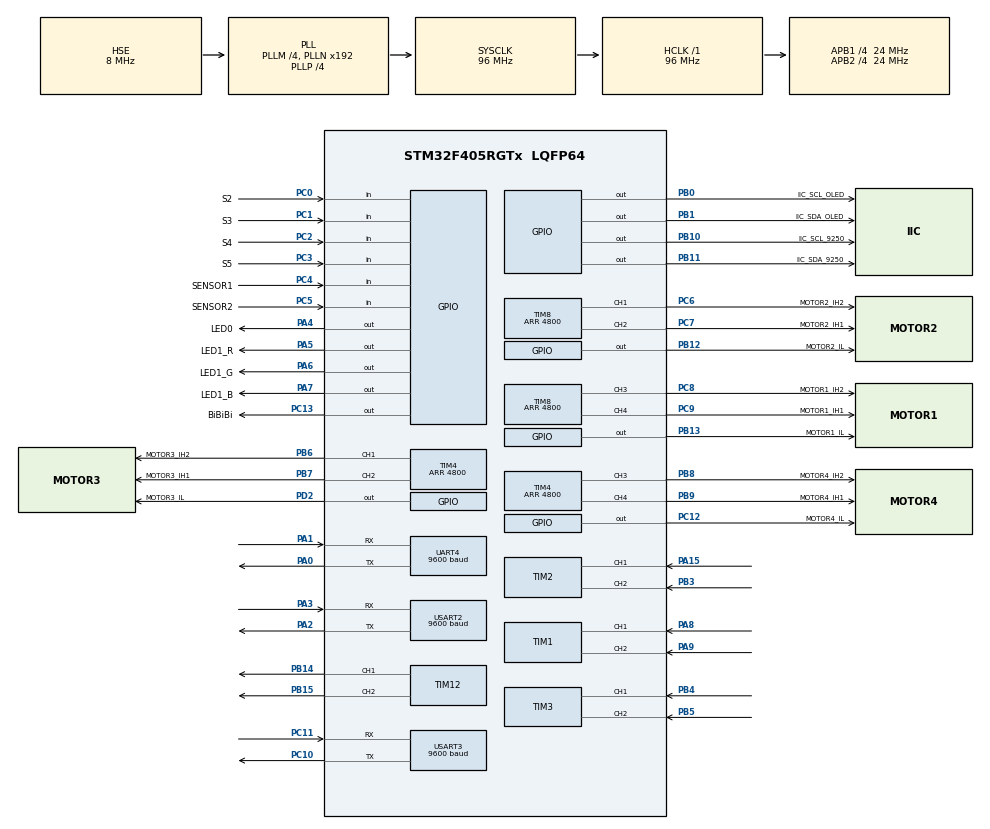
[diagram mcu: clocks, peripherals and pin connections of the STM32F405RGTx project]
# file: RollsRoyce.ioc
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Dma.Request0=USART2_RX
Dma.Request1=UART4_RX
Dma.Request2=USART3_RX
Dma.UART4_RX.1.Channel=DMA_CHANNEL_4
Dma.UART4_RX.1.Direction=DMA_PERIPH_TO_MEMORY
Dma.UART4_RX.1.FIFOMode=DMA_FIFOMODE_DISABLE
Dma.UART4_RX.1.FIFOThreshold=DMA_FIFO_THRESHOLD_FULL
Dma.UART4_RX.1.Instance=DMA1_Stream2
Dma.UART4_RX.1.MemBurst=DMA_MBURST_SINGLE
Dma.UART4_RX.1.MemDataAlignment=DMA_MDATAALIGN_BYTE
Dma.UART4_RX.1.MemInc=DMA_MINC_ENABLE
Dma.UART4_RX.1.Mode=DMA_CIRCULAR
Dma.UART4_RX.1.PeriphBurst=DMA_PBURST_SINGLE
Dma.UART4_RX.1.PeriphDataAlignment=DMA_PDATAALIGN_BYTE
Dma.UART4_RX.1.PeriphInc=DMA_PINC_DISABLE
Dma.UART4_RX.1.Priority=DMA_PRIORITY_LOW
Dma.USART2_RX.0.Channel=DMA_CHANNEL_4
Dma.USART2_RX.0.Direction=DMA_PERIPH_TO_MEMORY
Dma.USART2_RX.0.FIFOMode=DMA_FIFOMODE_DISABLE
Dma.USART2_RX.0.FIFOThreshold=DMA_FIFO_THRESHOLD_FULL
Dma.USART2_RX.0.Instance=DMA1_Stream5
Dma.USART2_RX.0.MemBurst=DMA_MBURST_SINGLE
Dma.USART2_RX.0.MemDataAlignment=DMA_MDATAALIGN_BYTE
Dma.USART2_RX.0.MemInc=DMA_MINC_ENABLE
Dma.USART2_RX.0.Mode=DMA_CIRCULAR
Dma.USART2_RX.0.PeriphBurst=DMA_PBURST_SINGLE
Dma.USART2_RX.0.PeriphDataAlignment=DMA_PDATAALIGN_BYTE
Dma.USART2_RX.0.PeriphInc=DMA_PINC_DISABLE
Dma.USART2_RX.0.Priority=DMA_PRIORITY_LOW
Dma.USART3_RX.2.Channel=DMA_CHANNEL_4
Dma.USART3_RX.2.Direction=DMA_PERIPH_TO_MEMORY
Dma.USART3_RX.2.FIFOMode=DMA_FIFOMODE_DISABLE
Dma.USART3_RX.2.FIFOThreshold=DMA_FIFO_THRESHOLD_FULL
Dma.USART3_RX.2.Instance=DMA1_Stream1
Dma.USART3_RX.2.MemBurst=DMA_MBURST_SINGLE
Dma.USART3_RX.2.MemDataAlignment=DMA_MDATAALIGN_BYTE
Dma.USART3_RX.2.MemInc=DMA_MINC_ENABLE
Dma.USART3_RX.2.Mode=DMA_CIRCULAR
Dma.USART3_RX.2.PeriphBurst=DMA_PBURST_SINGLE
Dma.USART3_RX.2.PeriphDataAlignment=DMA_PDATAALIGN_BYTE
Dma.USART3_RX.2.PeriphInc=DMA_PINC_DISABLE
Dma.USART3_RX.2.Priority=DMA_PRIORITY_VERY_HIGH
FREERTOS.Tasks01=defaultTask,0,128,StartDefaultTask
Mcu.Family=STM32F4
Mcu.Name=STM32F405RGTx
Mcu.Package=LQFP64
NVIC.DMA1_Stream1_IRQn=true\:5\:0\:false
NVIC.DMA1_Stream2_IRQn=true\:5\:0\:false
NVIC.DMA1_Stream5_IRQn=true\:5\:0\:false
NVIC.PriorityGroup=NVIC_PRIORITYGROUP_4
NVIC.USART2_IRQn=true\:5\:0\:false
PA0-WKUP.Mode=Asynchronous
PA0-WKUP.Signal=UART4_TX
PA1.Mode=Asynchronous
PA1.Signal=UART4_RX
PA13.Mode=Serial-Wire
PA13.Signal=SYS_JTMS-SWDIO
PA14.Mode=Serial-Wire
PA14.Signal=SYS_JTCK-SWCLK
PA15.Signal=S_TIM2_CH1_ETR
PA2.Mode=Asynchronous
PA2.Signal=USART2_TX
PA3.Mode=Asynchronous
PA3.Signal=USART2_RX
PA4.GPIO_Label=LED0
PA4.GPIO_ModeDefaultOutputPP=GPIO_MODE_OUTPUT_PP
PA4.GPIO_PuPd=GPIO_PULLUP
PA4.GPIO_Speed=GPIO_SPEED_LOW
PA4.Signal=GPIO_Output
PA5.GPIO_Label=LED1_R
PA5.GPIO_ModeDefaultOutputPP=GPIO_MODE_OUTPUT_PP
PA5.GPIO_PuPd=GPIO_PULLUP
PA5.GPIO_Speed=GPIO_SPEED_LOW
PA5.Signal=GPIO_Output
PA6.GPIO_Label=LED1_G
PA6.GPIO_ModeDefaultOutputPP=GPIO_MODE_OUTPUT_PP
PA6.GPIO_PuPd=GPIO_PULLUP
PA6.GPIO_Speed=GPIO_SPEED_LOW
PA6.Signal=GPIO_Output
PA7.GPIO_Label=LED1_B
PA7.GPIO_ModeDefaultOutputPP=GPIO_MODE_OUTPUT_PP
PA7.GPIO_PuPd=GPIO_PULLUP
PA7.GPIO_Speed=GPIO_SPEED_LOW
PA7.Signal=GPIO_Output
PA8.Signal=S_TIM1_CH1
PA9.Signal=S_TIM1_CH2
PB0.GPIO_Label=IIC_SCL_OLED
PB0.GPIO_ModeDefaultOutputPP=GPIO_MODE_OUTPUT_PP
PB0.GPIO_PuPd=GPIO_NOPULL
PB0.GPIO_Speed=GPIO_SPEED_LOW
PB0.Signal=GPIO_Output
PB1.GPIO_Label=IIC_SDA_OLED
PB1.GPIO_ModeDefaultOutputPP=GPIO_MODE_OUTPUT_PP
PB1.GPIO_PuPd=GPIO_NOPULL
PB1.GPIO_Speed=GPIO_SPEED_LOW
PB1.Signal=GPIO_Output
PB10.GPIO_Label=IIC_SCL_9250
PB10.GPIO_ModeDefaultOutputPP=GPIO_MODE_OUTPUT_PP
PB10.GPIO_PuPd=GPIO_NOPULL
PB10.GPIO_Speed=GPIO_SPEED_LOW
PB10.Signal=GPIO_Output
PB11.GPIO_Label=IIC_SDA_9250
PB11.GPIO_ModeDefaultOutputPP=GPIO_MODE_OUTPUT_PP
PB11.GPIO_PuPd=GPIO_NOPULL
PB11.GPIO_Speed=GPIO_SPEED_LOW
PB11.Signal=GPIO_Output
PB12.GPIO_Label=MOTOR2_IL
PB12.GPIO_ModeDefaultOutputPP=GPIO_MODE_OUTPUT_PP
PB12.GPIO_PuPd=GPIO_PULLDOWN
PB12.GPIO_Speed=GPIO_SPEED_HIGH
PB12.Signal=GPIO_Output
PB13.GPIO_Label=MOTOR1_IL
PB13.GPIO_ModeDefaultOutputPP=GPIO_MODE_OUTPUT_PP
PB13.GPIO_PuPd=GPIO_PULLDOWN
PB13.GPIO_Speed=GPIO_SPEED_HIGH
PB13.Signal=GPIO_Output
PB14.Signal=S_TIM12_CH1
PB15.Signal=S_TIM12_CH2
PB3.Signal=S_TIM2_CH2
PB4.Signal=S_TIM3_CH1
PB5.Signal=S_TIM3_CH2
PB6.GPIO_Label=MOTOR3_IH2
PB6.GPIO_ModeDefaultPP=GPIO_MODE_AF_PP
PB6.GPIO_PuPd=GPIO_NOPULL
PB6.GPIO_Speed=GPIO_SPEED_LOW
PB6.Signal=S_TIM4_CH1
PB7.GPIO_Label=MOTOR3_IH1
PB7.GPIO_ModeDefaultPP=GPIO_MODE_AF_PP
PB7.GPIO_PuPd=GPIO_NOPULL
PB7.GPIO_Speed=GPIO_SPEED_LOW
PB7.Signal=S_TIM4_CH2
PB8.GPIO_Label=MOTOR4_IH2
PB8.GPIO_ModeDefaultPP=GPIO_MODE_AF_PP
PB8.GPIO_PuPd=GPIO_NOPULL
PB8.GPIO_Speed=GPIO_SPEED_LOW
PB8.Signal=S_TIM4_CH3
PB9.GPIO_Label=MOTOR4_IH1
PB9.GPIO_ModeDefaultPP=GPIO_MODE_AF_PP
PB9.GPIO_PuPd=GPIO_NOPULL
PB9.GPIO_Speed=GPIO_SPEED_LOW
PB9.Signal=S_TIM4_CH4
PC0.GPIO_Label=S2
PC0.GPIO_Mode=GPIO_MODE_INPUT
PC0.GPIO_PuPd=GPIO_PULLUP
PC0.Signal=GPIO_Input
PC1.GPIO_Label=S3
PC1.GPIO_Mode=GPIO_MODE_INPUT
PC1.GPIO_PuPd=GPIO_PULLUP
PC1.Signal=GPIO_Input
PC10.Mode=Asynchronous
PC10.Signal=USART3_TX
PC11.Mode=Asynchronous
PC11.Signal=USART3_RX
PC12.GPIO_Label=MOTOR4_IL
PC12.GPIO_ModeDefaultOutputPP=GPIO_MODE_OUTPUT_PP
PC12.GPIO_PuPd=GPIO_PULLDOWN
PC12.GPIO_Speed=GPIO_SPEED_HIGH
PC12.Signal=GPIO_Output
PC13-ANTI_TAMP.GPIO_Label=BiBiBi
PC13-ANTI_TAMP.GPIO_ModeDefaultOutputPP=GPIO_MODE_OUTPUT_PP
PC13-ANTI_TAMP.GPIO_PuPd=GPIO_NOPULL
PC13-ANTI_TAMP.GPIO_Speed=GPIO_SPEED_HIGH
PC13-ANTI_TAMP.Signal=GPIO_Output
PC2.GPIO_Label=S4
PC2.GPIO_Mode=GPIO_MODE_INPUT
PC2.GPIO_PuPd=GPIO_PULLUP
PC2.Signal=GPIO_Input
PC3.GPIO_Label=S5
PC3.GPIO_Mode=GPIO_MODE_INPUT
PC3.GPIO_PuPd=GPIO_PULLUP
PC3.Signal=GPIO_Input
PC4.GPIO_Label=SENSOR1
PC4.GPIO_Mode=GPIO_MODE_INPUT
PC4.GPIO_PuPd=GPIO_NOPULL
PC4.Signal=GPIO_Input
PC5.GPIO_Label=SENSOR2
PC5.GPIO_Mode=GPIO_MODE_INPUT
PC5.GPIO_PuPd=GPIO_NOPULL
PC5.Signal=GPIO_Input
PC6.GPIO_Label=MOTOR2_IH2
PC6.GPIO_ModeDefaultPP=GPIO_MODE_AF_PP
PC6.GPIO_PuPd=GPIO_NOPULL
PC6.GPIO_Speed=GPIO_SPEED_LOW
PC6.Signal=S_TIM8_CH1
PC7.GPIO_Label=MOTOR2_IH1
PC7.GPIO_ModeDefaultPP=GPIO_MODE_AF_PP
PC7.GPIO_PuPd=GPIO_NOPULL
PC7.GPIO_Speed=GPIO_SPEED_LOW
PC7.Signal=S_TIM8_CH2
PC8.GPIO_Label=MOTOR1_IH2
PC8.GPIO_ModeDefaultPP=GPIO_MODE_AF_PP
PC8.GPIO_PuPd=GPIO_NOPULL
PC8.GPIO_Speed=GPIO_SPEED_LOW
PC8.Signal=S_TIM8_CH3
PC9.GPIO_Label=MOTOR1_IH1
PC9.GPIO_ModeDefaultPP=GPIO_MODE_AF_PP
PC9.GPIO_PuPd=GPIO_NOPULL
PC9.GPIO_Speed=GPIO_SPEED_LOW
PC9.Signal=S_TIM8_CH4
PD2.GPIO_Label=MOTOR3_IL
PD2.GPIO_ModeDefaultOutputPP=GPIO_MODE_OUTPUT_PP
PD2.GPIO_PuPd=GPIO_PULLDOWN
PD2.GPIO_Speed=GPIO_SPEED_HIGH
PD2.Signal=GPIO_Output
PH0-OSC_IN.Mode=HSE-External-Oscillator
PH0-OSC_IN.Signal=RCC_OSC_IN
PH1-OSC_OUT.Mode=HSE-External-Oscillator
PH1-OSC_OUT.Signal=RCC_OSC_OUT
RCC.48MHZClocksFreq_Value=96000000
RCC.AHBFreq_Value=96000000
RCC.APB1CLKDivider=RCC_HCLK_DIV4
RCC.APB1Freq_Value=24000000
RCC.APB1TimFreq_Value=48000000
RCC.APB2CLKDivider=RCC_HCLK_DIV4
RCC.APB2Freq_Value=24000000
RCC.APB2TimFreq_Value=48000000
RCC.CortexFreq_Value=96000000
RCC.HCLKFreq_Value=96000000
RCC.HSE_VALUE=8000000
RCC.HSI_VALUE=16000000
RCC.LSE_VALUE=32768
RCC.PLLM=4
RCC.PLLP=RCC_PLLP_DIV4
RCC.PLLSourceVirtual=RCC_PLLSOURCE_HSE
RCC.SYSCLKFreq_VALUE=96000000
RCC.SYSCLKSource=RCC_SYSCLKSOURCE_PLLCLK
RCC.VCOOutputFreq_Value=384000000
SH.S_TIM12_CH1.0=TIM12_CH1,PWM Generation1 CH1
SH.S_TIM12_CH2.0=TIM12_CH2,PWM Generation2 CH2
SH.S_TIM1_CH1.0=TIM1_CH1,Encoder_Interface
SH.S_TIM1_CH2.0=TIM1_CH2,Encoder_Interface
SH.S_TIM2_CH1_ETR.0=TIM2_CH1,Encoder_Interface
SH.S_TIM2_CH2.0=TIM2_CH2,Encoder_Interface
SH.S_TIM3_CH1.0=TIM3_CH1,Encoder_Interface
SH.S_TIM3_CH2.0=TIM3_CH2,Encoder_Interface
SH.S_TIM4_CH1.0=TIM4_CH1,PWM Generation1 CH1
SH.S_TIM4_CH2.0=TIM4_CH2,PWM Generation2 CH2
SH.S_TIM4_CH3.0=TIM4_CH3,PWM Generation3 CH3
SH.S_TIM4_CH4.0=TIM4_CH4,PWM Generation4 CH4
SH.S_TIM8_CH1.0=TIM8_CH1,PWM Generation1 CH1
SH.S_TIM8_CH2.0=TIM8_CH2,PWM Generation2 CH2
SH.S_TIM8_CH3.0=TIM8_CH3,PWM Generation3 CH3
SH.S_TIM8_CH4.0=TIM8_CH4,PWM Generation4 CH4
TIM1.EncoderMode=TIM_ENCODERMODE_TI12
TIM12.Channel-PWM\ Generation2\ CH2=TIM_CHANNEL_2
TIM2.EncoderMode=TIM_ENCODERMODE_TI12
TIM3.EncoderMode=TIM_ENCODERMODE_TI12
TIM4.Channel-PWM\ Generation2\ CH2=TIM_CHANNEL_2
TIM4.Channel-PWM\ Generation3\ CH3=TIM_CHANNEL_3
TIM4.Channel-PWM\ Generation4\ CH4=TIM_CHANNEL_4
TIM4.Period=4800
TIM8.Channel-PWM\ Generation2\ CH2=TIM_CHANNEL_2
TIM8.Channel-PWM\ Generation3\ CH3=TIM_CHANNEL_3
TIM8.Channel-PWM\ Generation4\ CH4=TIM_CHANNEL_4
TIM8.Period=4800
UART4.BaudRate=9600
USART2.BaudRate=9600
USART3.BaudRate=9600
VP_FREERTOS_VS_ENABLE.Mode=Enabled
VP_TIM12_VS_ClockSourceINT.Mode=Internal
board=RollsRoyce

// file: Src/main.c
/**
  ******************************************************************************
  * File Name          : main.c
  * Description        : Main program body
  ******************************************************************************
  *
  * COPYRIGHT(c) 2016 STMicroelectronics
  *
  * Redistribution and use in source and binary forms, with or without modification,
  * are permitted provided that the following conditions are met:
  *   1. Redistributions of source code must retain the above copyright notice,
  *      this list of conditions and the following disclaimer.
  *   2. Redistributions in binary form must reproduce the above copyright notice,
  *      this list of conditions and the following disclaimer in the documentation
  *      and/or other materials provided with the distribution.
  *   3. Neither the name of STMicroelectronics nor the names of its contributors
  *      may be used to endorse or promote products derived from this software
  *      without specific prior written permission.
  *
  * THIS SOFTWARE IS PROVIDED BY THE COPYRIGHT HOLDERS AND CONTRIBUTORS "AS IS"
  * AND ANY EXPRESS OR IMPLIED WARRANTIES, INCLUDING, BUT NOT LIMITED TO, THE
  * IMPLIED WARRANTIES OF MERCHANTABILITY AND FITNESS FOR A PARTICULAR PURPOSE ARE
  * DISCLAIMED. IN NO EVENT SHALL THE COPYRIGHT HOLDER OR CONTRIBUTORS BE LIABLE
  * FOR ANY DIRECT, INDIRECT, INCIDENTAL, SPECIAL, EXEMPLARY, OR CONSEQUENTIAL
  * DAMAGES (INCLUDING, BUT NOT LIMITED TO, PROCUREMENT OF SUBSTITUTE GOODS OR
  * SERVICES; LOSS OF USE, DATA, OR PROFITS; OR BUSINESS INTERRUPTION) HOWEVER
  * CAUSED AND ON ANY THEORY OF LIABILITY, WHETHER IN CONTRACT, STRICT LIABILITY,
  * OR TORT (INCLUDING NEGLIGENCE OR OTHERWISE) ARISING IN ANY WAY OUT OF THE USE
  * OF THIS SOFTWARE, EVEN IF ADVISED OF THE POSSIBILITY OF SUCH DAMAGE.
  *
  ******************************************************************************
  */
#include "stm32f4xx_hal.h"
#include "cmsis_os.h"
#include "dma.h"
#include "tim.h"
#include "usart.h"
#include "gpio.h"

/* USER CODE BEGIN Includes */
#include "tasks.h"
/* USER CODE END Includes */

/* USER CODE BEGIN PV */
/* Private variables ---------------------------------------------------------*/
uint8_t BTData[FrameLength*2];
/* USER CODE END PV */

void SystemClock_Config(void);
void MX_FREERTOS_Init(void);

/* USER CODE BEGIN PFP */
/* Private function prototypes -----------------------------------------------*/

/* USER CODE END PFP */

int main(void)
{

  /* MCU Configuration----------------------------------------------------------*/

  /* Reset of all peripherals, Initializes the Flash interface and the Systick. */
  HAL_Init();

  /* Configure the system clock */
  SystemClock_Config();

  /* Initialize all configured peripherals */
  MX_GPIO_Init();
  MX_DMA_Init();
  MX_TIM1_Init();
  MX_TIM2_Init();
  MX_TIM3_Init();
  MX_TIM4_Init();
  MX_TIM8_Init();
  MX_TIM12_Init();
  MX_UART4_Init();
  MX_USART2_UART_Init();
  MX_USART3_UART_Init();

  /* USER CODE BEGIN 2 */
	HAL_UART_Receive_DMA(&huart3,BTData,FrameLength*2);
  /* USER CODE END 2 */

  /* Call init function for freertos objects (in freertos.c) */
  MX_FREERTOS_Init();

  /* Start scheduler */
  osKernelStart();

  /* We should never get here as control is now taken by the scheduler */

  /* Infinite loop */
  while (1)
  {

  }

}

/** System Clock Configuration
*/
void SystemClock_Config(void)
{

  RCC_OscInitTypeDef RCC_OscInitStruct;
  RCC_ClkInitTypeDef RCC_ClkInitStruct;

  __PWR_CLK_ENABLE();

  __HAL_PWR_VOLTAGESCALING_CONFIG(PWR_REGULATOR_VOLTAGE_SCALE1);

  RCC_OscInitStruct.OscillatorType = RCC_OSCILLATORTYPE_HSE;
  RCC_OscInitStruct.HSEState = RCC_HSE_ON;
  RCC_OscInitStruct.PLL.PLLState = RCC_PLL_ON;
  RCC_OscInitStruct.PLL.PLLSource = RCC_PLLSOURCE_HSE;
  RCC_OscInitStruct.PLL.PLLM = 4;
  RCC_OscInitStruct.PLL.PLLN = 192;
  RCC_OscInitStruct.PLL.PLLP = RCC_PLLP_DIV4;
  RCC_OscInitStruct.PLL.PLLQ = 4;
  HAL_RCC_OscConfig(&RCC_OscInitStruct);

  RCC_ClkInitStruct.ClockType = RCC_CLOCKTYPE_SYSCLK|RCC_CLOCKTYPE_PCLK1
                              |RCC_CLOCKTYPE_PCLK2;
  RCC_ClkInitStruct.SYSCLKSource = RCC_SYSCLKSOURCE_PLLCLK;
  RCC_ClkInitStruct.AHBCLKDivider = RCC_SYSCLK_DIV1;
  RCC_ClkInitStruct.APB1CLKDivider = RCC_HCLK_DIV4;
  RCC_ClkInitStruct.APB2CLKDivider = RCC_HCLK_DIV4;
  HAL_RCC_ClockConfig(&RCC_ClkInitStruct, FLASH_LATENCY_3);

  HAL_SYSTICK_Config(HAL_RCC_GetHCLKFreq()/1000);

  HAL_SYSTICK_CLKSourceConfig(SYSTICK_CLKSOURCE_HCLK);

}

/************************ (C) COPYRIGHT STMicroelectronics *****END OF FILE****/

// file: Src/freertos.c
/**
  ******************************************************************************
  * File Name          : freertos.c
  * Description        : Code for freertos applications
  ******************************************************************************
  *
  * COPYRIGHT(c) 2016 STMicroelectronics
  *
  * Redistribution and use in source and binary forms, with or without modification,
  * are permitted provided that the following conditions are met:
  *   1. Redistributions of source code must retain the above copyright notice,
  *      this list of conditions and the following disclaimer.
  *   2. Redistributions in binary form must reproduce the above copyright notice,
  *      this list of conditions and the following disclaimer in the documentation
  *      and/or other materials provided with the distribution.
  *   3. Neither the name of STMicroelectronics nor the names of its contributors
  *      may be used to endorse or promote products derived from this software
  *      without specific prior written permission.
  *
  * THIS SOFTWARE IS PROVIDED BY THE COPYRIGHT HOLDERS AND CONTRIBUTORS "AS IS"
  * AND ANY EXPRESS OR IMPLIED WARRANTIES, INCLUDING, BUT NOT LIMITED TO, THE
  * IMPLIED WARRANTIES OF MERCHANTABILITY AND FITNESS FOR A PARTICULAR PURPOSE ARE
  * DISCLAIMED. IN NO EVENT SHALL THE COPYRIGHT HOLDER OR CONTRIBUTORS BE LIABLE
  * FOR ANY DIRECT, INDIRECT, INCIDENTAL, SPECIAL, EXEMPLARY, OR CONSEQUENTIAL
  * DAMAGES (INCLUDING, BUT NOT LIMITED TO, PROCUREMENT OF SUBSTITUTE GOODS OR
  * SERVICES; LOSS OF USE, DATA, OR PROFITS; OR BUSINESS INTERRUPTION) HOWEVER
  * CAUSED AND ON ANY THEORY OF LIABILITY, WHETHER IN CONTRACT, STRICT LIABILITY,
  * OR TORT (INCLUDING NEGLIGENCE OR OTHERWISE) ARISING IN ANY WAY OUT OF THE USE
  * OF THIS SOFTWARE, EVEN IF ADVISED OF THE POSSIBILITY OF SUCH DAMAGE.
  *
  ******************************************************************************
  */

#include "FreeRTOS.h"
#include "task.h"
#include "cmsis_os.h"

/* USER CODE BEGIN Includes */
#include "tasks.h"
/* USER CODE END Includes */

osThreadId defaultTaskHandle;
osThreadId LEDTaskHandle;
osThreadId MotorTaskHandle;
osThreadId BTTaskHandle;
osThreadId MathTaskHandle;
osThreadId KeyScanTaskHandle;

void StartDefaultTask(void const * argument);

void MX_FREERTOS_Init(void); /* (MISRA C 2004 rule 8.1) */

/* Hook prototypes */

/* Init FreeRTOS */

void MX_FREERTOS_Init(void) {

  /* Create the thread(s) */
  /* definition and creation of defaultTask */
  osThreadDef(defaultTask, StartDefaultTask, osPriorityNormal, 0, 128);
  defaultTaskHandle = osThreadCreate(osThread(defaultTask), NULL);

  /* USER CODE BEGIN RTOS_THREADS */
  /* add threads, ... */
#ifdef KEYSCAN_THREAD
	osThreadDef(KeyScanTask, 	KeyScanTask, osPriorityNormal, 0, 128);
  KeyScanTaskHandle = osThreadCreate(osThread(KeyScanTask), NULL);
#endif

#ifdef LED_THREAD
	osThreadDef(LEDTask, LEDTask, osPriorityNormal, 0, 128);
  LEDTaskHandle = osThreadCreate(osThread(LEDTask), NULL);
#endif

#ifdef MOTOR_THREAD
	osThreadDef(MotorTask, MotorTask, osPriorityNormal, 0, 128);
  MotorTaskHandle = osThreadCreate(osThread(MotorTask), NULL);
#endif

#ifdef MATH_THREAD
	osThreadDef(MathTask, MathTask, osPriorityNormal, 0, 128);
  MathTaskHandle = osThreadCreate(osThread(MathTask), NULL);
#endif

	//osThreadDef(BTTask, BTTask, osPriorityNormal, 0, 128);
  //BTTaskHandle = osThreadCreate(osThread(BTTask), NULL);

  /* USER CODE END RTOS_THREADS */

}

/* StartDefaultTask function */
void StartDefaultTask(void const * argument)
{

  for(;;)
  {
    osDelay(1);
  }
}

/************************ (C) COPYRIGHT STMicroelectronics *****END OF FILE****/
